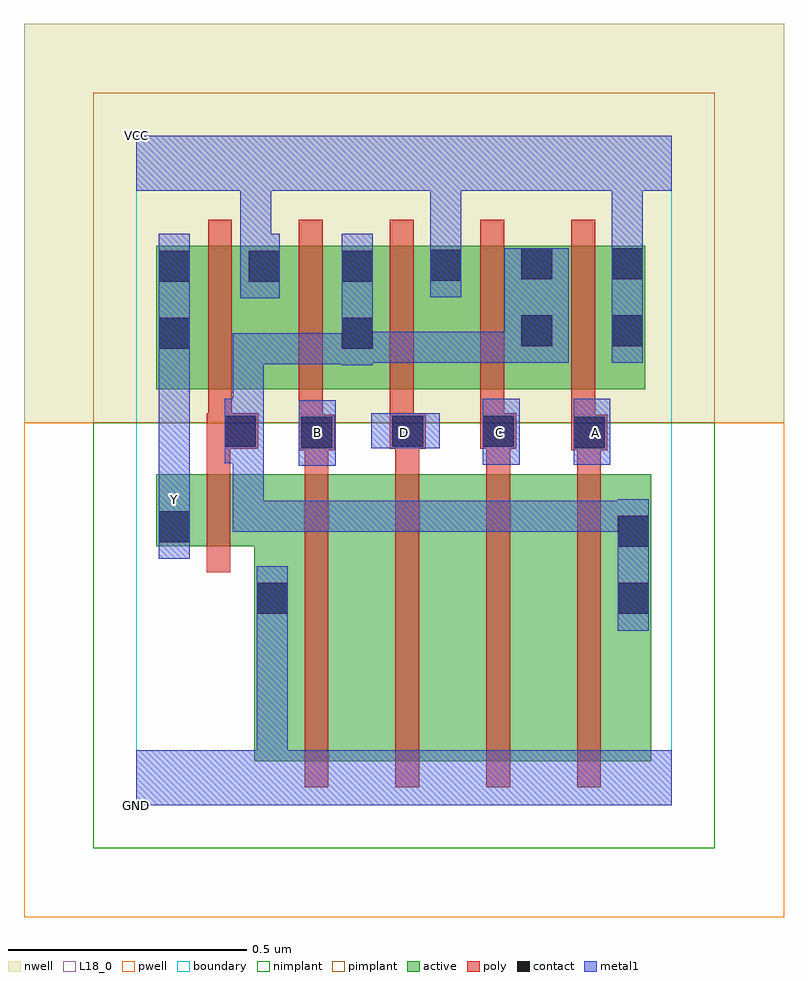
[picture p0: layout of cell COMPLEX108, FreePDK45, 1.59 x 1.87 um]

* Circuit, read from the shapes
.subckt COMPLEX108 A B C D GND VCC Y
M1 GND n1 Y VSUBS nfet w=0.15u l=0.05u
M2 n2 B GND VSUBS nfet w=0.6u l=0.05u
M3 n3 D n2 VSUBS nfet w=0.6u l=0.05u
M4 n4 C n3 VSUBS nfet w=0.6u l=0.05u
M5 n1 A n4 VSUBS nfet w=0.6u l=0.05u
M6 VCC n1 Y n5 pfet w=0.3u l=0.05u
M7 n1 B VCC n5 pfet w=0.3u l=0.05u
M8 VCC D n1 n5 pfet w=0.3u l=0.05u
M9 n1 C VCC n5 pfet w=0.3u l=0.05u
M10 VCC A n1 n5 pfet w=0.3u l=0.05u
.ends

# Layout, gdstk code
import gdstk
lib = gdstk.Library(unit=1e-6, precision=1e-09)
def R(c, l, rs):  # rectangles x0, y0, x1, y1
    for r in rs: c.add(gdstk.rectangle(r[:2], r[2:], *l))
def A(c, l, x, y, w, h, nx, ny, dx, dy):  # array of equal rectangles
    R(c, l, [(x+i*dx, y+j*dy, x+i*dx+w, y+j*dy+h) for i in range(nx) for j in range(ny)])
active = (1, 0)
pwell = (2, 0)
nwell = (3, 0)
nimplant = (4, 0)
pimplant = (5, 0)
poly = (9, 0)
contact = (10, 0)
metal1 = (11, 0)
L18_0 = (18, 0)
boundary = (235, 0)

complex108 = lib.new_cell('COMPLEX108')
R(complex108, active, [(0.247,0.092,0.472,0.692), (0.247,0.092,0.322,0.542), (0.472,0.092,0.662,0.692), (0.662,0.092,0.852,0.692), (0.852,0.092,1.077,0.692), (1.002,0.145,1.077,0.692), (0.042,0.542,0.322,0.692), (0.042,0.545,0.117,0.692), (0.042,0.87,0.305,1.17), (0.042,0.87,0.117,1.167), (0.23,0.87,0.5,1.17), (0.425,0.87,0.685,1.17), (0.61,0.87,0.875,1.17), (0.8,0.87,0.875,1.17), (0.8,0.87,1.065,1.17), (0.99,0.87,1.065,1.17), (0.425,0.877,0.5,1.167), (0.23,1.002,0.305,1.167), (0.61,1.002,0.685,1.167)])
R(complex108, pwell, [(-0.235,-0.235,1.355,0.8)])
R(complex108, nwell, [(-0.235,0.8,1.355,1.635)])
R(complex108, nimplant, [(-0.09,-0.09,1.21,0.8)])
R(complex108, pimplant, [(-0.09,0.8,1.21,1.49)])
A(complex108, poly, 0.352, 0.037, 0.05, 0.71, 4, 1, 0.19, 0)
A(complex108, poly, 0.15, 0.815, 0.05, 0.41, 5, 1, 0.19, 0)
R(complex108, poly, [(0.147,0.487,0.197,0.747), (0.147,0.697,0.197,0.795), (0.352,0.697,0.402,0.792), (0.542,0.697,0.592,0.795), (0.732,0.697,0.782,0.795), (0.922,0.697,0.972,0.792), (0.34,0.742,0.415,0.817), (0.91,0.742,0.985,0.817), (0.147,0.745,0.255,0.82), (0.53,0.745,0.605,0.82), (0.72,0.745,0.795,0.82), (0.34,0.767,0.39,0.865), (0.91,0.767,0.96,0.865), (0.15,0.77,0.2,0.865), (0.53,0.77,0.58,0.865), (0.72,0.77,0.77,0.865)])
R(complex108, contact, [(0.252,0.4,0.317,0.465), (1.007,0.4,1.072,0.465), (1.007,0.54,1.072,0.605), (0.047,0.55,0.112,0.615), (0.345,0.747,0.41,0.812), (0.915,0.747,0.98,0.812), (0.185,0.75,0.25,0.815), (0.535,0.75,0.6,0.815), (0.725,0.75,0.79,0.815), (0.047,0.955,0.112,1.02), (0.43,0.955,0.495,1.02), (0.805,0.96,0.87,1.025), (0.995,0.96,1.06,1.025), (0.047,1.095,0.112,1.16), (0.235,1.095,0.3,1.16), (0.43,1.095,0.495,1.16), (0.615,1.097,0.68,1.162), (0.805,1.1,0.87,1.165), (0.995,1.1,1.06,1.165)])
R(complex108, metal1, [(0,0,1.12,0.115), (0.252,0.05,0.317,0.43), (0.252,0.365,0.317,0.43), (0.252,0.365,0.317,0.43), (0.252,0.365,0.317,0.5), (1.007,0.365,1.072,0.64), (0.047,0.515,0.112,0.65), (0.047,0.572,0.112,0.707), (0.202,0.572,0.267,0.637), (0.202,0.572,0.42,0.637), (0.202,0.572,0.267,0.85), (0.355,0.572,0.42,0.637), (0.355,0.572,0.42,0.637), (0.355,0.572,0.42,0.637), (0.355,0.572,0.652,0.637), (0.587,0.572,0.652,0.637), (0.587,0.572,0.652,0.637), (0.587,0.572,0.652,0.637), (0.587,0.572,0.842,0.637), (0.777,0.572,0.842,0.637), (0.777,0.572,0.842,0.637), (0.777,0.572,0.842,0.637), (0.777,0.572,1.072,0.637), (1.007,0.572,1.072,0.637), (1.007,0.572,1.072,0.637), (0.047,0.585,0.112,0.65), (0.047,0.642,0.112,0.985), (0.34,0.71,0.417,0.847), (0.725,0.712,0.802,0.85), (0.915,0.712,0.992,0.85), (0.185,0.715,0.25,0.85), (0.492,0.747,0.635,0.82), (0.185,0.785,0.267,0.85), (0.202,0.785,0.267,0.85), (0.202,0.785,0.267,0.987), (0.047,0.92,0.112,1.195), (0.43,0.92,0.495,1.195), (0.202,0.922,0.267,0.987), (0.202,0.922,0.42,0.987), (0.355,0.922,0.42,0.987), (0.355,0.922,0.495,0.987), (0.43,0.925,0.652,0.99), (0.587,0.925,0.652,0.99), (0.587,0.925,0.652,0.99), (0.587,0.925,0.652,0.99), (0.587,0.925,0.835,0.99), (0.77,0.925,0.835,0.99), (0.77,0.925,0.835,0.99), (0.77,0.925,0.905,1.165), (0.995,0.925,1.06,1.2), (0.217,1.06,0.3,1.195), (0.615,1.062,0.68,1.197), (0.217,1.13,0.282,1.35), (0.615,1.132,0.68,1.35), (0.995,1.135,1.06,1.35), (0,1.285,1.12,1.4), (0.217,1.285,0.282,1.35), (0.217,1.285,0.282,1.35), (0.615,1.285,0.68,1.35), (0.615,1.285,0.68,1.35), (0.995,1.285,1.06,1.35), (0.995,1.285,1.06,1.35)])
A(complex108, L18_0, 0.527, 0.747, 0.065, 0.065, 3, 1, 0.2, 0)
R(complex108, L18_0, [(0,0,1.12,0.115), (0.252,0.05,0.317,0.43), (0.252,0.365,0.317,0.5), (0.252,0.365,0.317,0.43), (0.252,0.365,0.317,0.43), (0.047,0.515,0.112,0.65), (0.047,0.572,0.112,0.707), (0.047,0.585,0.112,0.65), (0.047,0.607,0.112,0.672), (0.047,0.642,0.112,0.985), (0.34,0.71,0.417,0.847), (0.725,0.712,0.802,0.85), (0.915,0.712,0.992,0.85), (0.347,0.747,0.412,0.812), (0.492,0.747,0.635,0.82), (0.047,0.92,0.112,1.195), (0.995,0.925,1.06,1.2), (0.217,1.06,0.3,1.195), (0.615,1.062,0.68,1.197), (0.217,1.13,0.282,1.35), (0.615,1.132,0.68,1.35), (0.995,1.135,1.06,1.35), (0,1.285,1.12,1.4), (0.217,1.285,0.282,1.35), (0.217,1.285,0.282,1.35), (0.615,1.285,0.68,1.35), (0.615,1.285,0.68,1.35), (0.995,1.285,1.06,1.35), (0.995,1.285,1.06,1.35)])
R(complex108, boundary, [(0,0,1.12,1.4)])
complex108.add(gdstk.Label('A', (0.96,0.78), layer=11, texttype=0))
complex108.add(gdstk.Label('B', (0.38,0.78), layer=11, texttype=0))
complex108.add(gdstk.Label('C', (0.76,0.78), layer=11, texttype=0))
complex108.add(gdstk.Label('D', (0.56,0.78), layer=11, texttype=0))
complex108.add(gdstk.Label('Y', (0.08,0.64), layer=11, texttype=0))
complex108.add(gdstk.Label('VCC', (0,1.4), layer=11, texttype=0))
complex108.add(gdstk.Label('GND', (0,0), layer=11, texttype=0))

lib.write_gds('COMPLEX108.gds')
